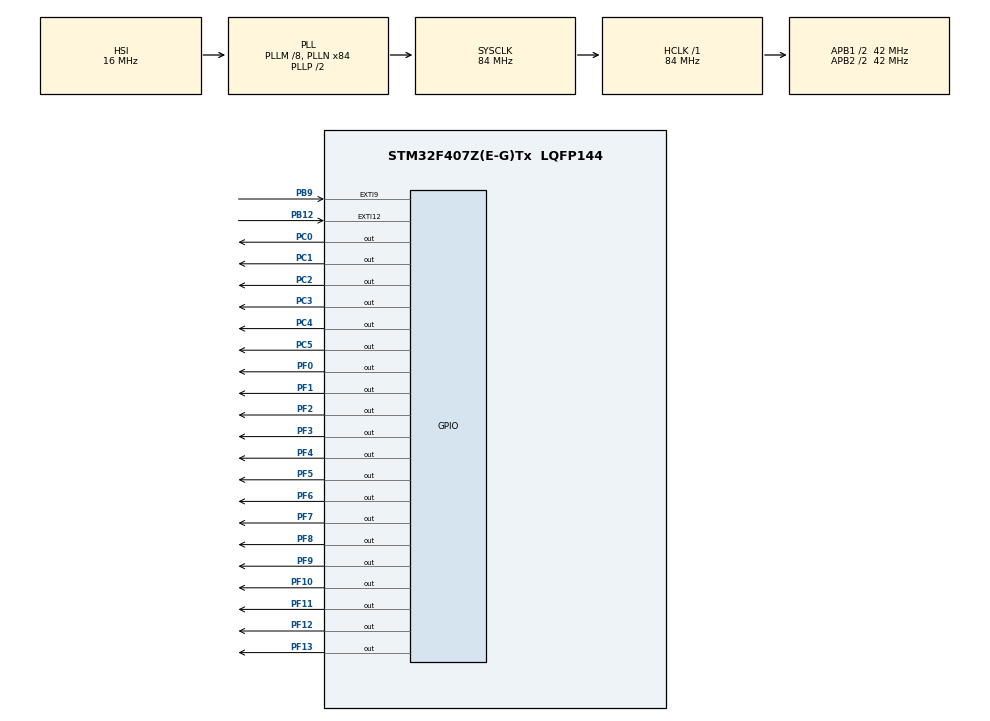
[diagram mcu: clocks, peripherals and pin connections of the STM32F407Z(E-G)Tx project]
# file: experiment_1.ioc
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Mcu.Family=STM32F4
Mcu.Name=STM32F407Z(E-G)Tx
Mcu.Package=LQFP144
NVIC.EXTI15_10_IRQn=true\:0\:0\:false\:false\:true\:true\:true\:true
NVIC.EXTI9_5_IRQn=true\:0\:0\:false\:false\:true\:true\:true\:true
NVIC.PriorityGroup=NVIC_PRIORITYGROUP_4
NVIC.TIM3_IRQn=true\:0\:0\:false\:false\:true\:true\:true\:true
PB12.Signal=GPXTI12
PB9.Signal=GPXTI9
PC0.Signal=GPIO_Output
PC1.Signal=GPIO_Output
PC14-OSC32_IN.Mode=LSE-External-Oscillator
PC14-OSC32_IN.Signal=RCC_OSC32_IN
PC15-OSC32_OUT.Mode=LSE-External-Oscillator
PC15-OSC32_OUT.Signal=RCC_OSC32_OUT
PC2.Signal=GPIO_Output
PC3.Signal=GPIO_Output
PC4.Signal=GPIO_Output
PC5.Signal=GPIO_Output
PF0.Signal=GPIO_Output
PF1.Signal=GPIO_Output
PF10.Signal=GPIO_Output
PF11.Signal=GPIO_Output
PF12.Signal=GPIO_Output
PF13.Signal=GPIO_Output
PF2.Signal=GPIO_Output
PF3.Signal=GPIO_Output
PF4.Signal=GPIO_Output
PF5.Signal=GPIO_Output
PF6.Signal=GPIO_Output
PF7.Signal=GPIO_Output
PF8.Signal=GPIO_Output
PF9.Signal=GPIO_Output
PH0-OSC_IN.Mode=HSE-External-Oscillator
PH0-OSC_IN.Signal=RCC_OSC_IN
PH1-OSC_OUT.Mode=HSE-External-Oscillator
PH1-OSC_OUT.Signal=RCC_OSC_OUT
ProjectManager.HeapSize=0x200
ProjectManager.StackSize=0x400
ProjectManager.TargetToolchain=Makefile
RCC.48MHZClocksFreq_Value=42000000
RCC.AHBFreq_Value=84000000
RCC.APB1CLKDivider=RCC_HCLK_DIV2
RCC.APB1Freq_Value=42000000
RCC.APB1TimFreq_Value=84000000
RCC.APB2CLKDivider=RCC_HCLK_DIV2
RCC.APB2Freq_Value=42000000
RCC.APB2TimFreq_Value=84000000
RCC.CortexFreq_Value=84000000
RCC.HCLKFreq_Value=84000000
RCC.HSE_VALUE=25000000
RCC.HSI_VALUE=16000000
RCC.PLLM=8
RCC.PLLN=84
RCC.SYSCLKFreq_VALUE=84000000
RCC.SYSCLKSource=RCC_SYSCLKSOURCE_PLLCLK
RCC.VCOOutputFreq_Value=168000000
VP_TIM3_VS_ClockSourceINT.Mode=Internal
board=custom

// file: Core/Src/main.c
/* USER CODE BEGIN Header */
/**
  ******************************************************************************
  * @file           : main.c
  * @brief          : Main program body
  ******************************************************************************
  * @attention
  *
  * Copyright (c) 2025 STMicroelectronics.
  * All rights reserved.
  *
  * This software is licensed under terms that can be found in the LICENSE file
  * in the root directory of this software component.
  * If no LICENSE file comes with this software, it is provided AS-IS.
  *
  ******************************************************************************
  */
/* USER CODE END Header */
#include "main.h"

/* USER CODE BEGIN Includes */
#include <stdint.h>
/* USER CODE END Includes */

TIM_HandleTypeDef htim3;

/* USER CODE BEGIN PV */
// 定时器计数器
volatile uint32_t timer_counter = 0;

// 频率控制变量 (基础周期倍数)
volatile uint32_t speed_divider = 10; // 初始速度

// 数码管流水灯变量 (8段: a,b,c,d,e,f,g,dp)
volatile uint8_t segment_pos = 0; // 当前亮的段位置 (0-7)

// 交通灯状态变量
volatile uint8_t traffic_state = 0; // 0: 灯1亮, 1: 灯2亮

// LED流水灯变量
volatile uint8_t led_mode = 0; // 0: 依次点亮, 1: 依次熄灭
volatile uint8_t led_pos = 0; // 当前LED位置 (0-7)

// 段码定义 (只点亮单个段)
const uint8_t segment_patterns[8] = {
    0x01, // a段
    0x02, // b段
    0x04, // c段
    0x08, // d段
    0x10, // e段
    0x20, // f段
    // 0x40, // g段
    // 0x80  // dp段
};
/* USER CODE END PV */

void SystemClock_Config(void);
static void MX_GPIO_Init(void);
static void MX_TIM3_Init(void);
/* USER CODE BEGIN PFP */
// 74HC595控制函数
void HC595_SendByte(uint8_t data);
void Display_Segment(uint8_t segment_code, uint8_t digit_pos);

// 任务更新函数
void Update_SegmentLight(void);
void Update_TrafficLight(void);
void Update_LEDLight(void);
/* USER CODE END PFP */

/* USER CODE BEGIN 0 */

/**
 * @brief 通过74HC595发送一个字节数据
 * @param data 要发送的8位数据
 */
void HC595_SendByte(uint8_t data)
{
    // 拉低RCK，准备传输
    HAL_GPIO_WritePin(GPIOC, GPIO_PIN_1, GPIO_PIN_RESET); // RCK = 0

    // 从高位到低位发送8位数据
    for(int i = 7; i >= 0; i--)
    {
        // 拉低SCK
        HAL_GPIO_WritePin(GPIOC, GPIO_PIN_2, GPIO_PIN_RESET); // SCK = 0

        // 设置SI数据线
        if(data & (1 << i))
            HAL_GPIO_WritePin(GPIOC, GPIO_PIN_0, GPIO_PIN_SET); // SI = 1
        else
            HAL_GPIO_WritePin(GPIOC, GPIO_PIN_0, GPIO_PIN_RESET); // SI = 0

        // 拉高SCK，移入数据
        HAL_GPIO_WritePin(GPIOC, GPIO_PIN_2, GPIO_PIN_SET); // SCK = 1
    }

    // 拉高RCK，锁存数据到输出
    HAL_GPIO_WritePin(GPIOC, GPIO_PIN_1, GPIO_PIN_SET); // RCK = 1
}

/**
 * @brief 显示数码管的某一位
 * @param segment_code 段码
 * @param digit_pos 位选 (0-7)
 */
void Display_Segment(uint8_t segment_code, uint8_t digit_pos)
{
    // 通过74HC595发送段码
    HC595_SendByte(segment_code);

    // 通过74HC138选择数码管位 (ABC控制)
    // A=PC3, B=PC4, C=PC5
    if(digit_pos & 0x01)
        HAL_GPIO_WritePin(GPIOC, GPIO_PIN_3, GPIO_PIN_SET);
    else
        HAL_GPIO_WritePin(GPIOC, GPIO_PIN_3, GPIO_PIN_RESET);

    if(digit_pos & 0x02)
        HAL_GPIO_WritePin(GPIOC, GPIO_PIN_4, GPIO_PIN_SET);
    else
        HAL_GPIO_WritePin(GPIOC, GPIO_PIN_4, GPIO_PIN_RESET);

    if(digit_pos & 0x04)
        HAL_GPIO_WritePin(GPIOC, GPIO_PIN_5, GPIO_PIN_SET);
    else
        HAL_GPIO_WritePin(GPIOC, GPIO_PIN_5, GPIO_PIN_RESET);
}

/**
 * @brief 更新数码管流水灯
 */
void Update_SegmentLight(void)
{
    // 显示当前段
    Display_Segment(segment_patterns[segment_pos], 0);

    // 移动到下一段
    segment_pos++;
    if(segment_pos >= 6)
        segment_pos = 0;
}

/**
 * @brief 更新交通灯状态
 */
void Update_TrafficLight(void)
{
    if(traffic_state == 0)
    {
        // 第一组灯亮 (红1, 黄1, 绿1) = (PF8, PF9, PF10)
        HAL_GPIO_WritePin(GPIOF, GPIO_PIN_8, GPIO_PIN_SET);
        HAL_GPIO_WritePin(GPIOF, GPIO_PIN_9, GPIO_PIN_SET);
        HAL_GPIO_WritePin(GPIOF, GPIO_PIN_10, GPIO_PIN_SET);

        // 第二组灯灭 (红2, 黄2, 绿2) = (PF11, PF12, PF13)
        HAL_GPIO_WritePin(GPIOF, GPIO_PIN_11, GPIO_PIN_RESET);
        HAL_GPIO_WritePin(GPIOF, GPIO_PIN_12, GPIO_PIN_RESET);
        HAL_GPIO_WritePin(GPIOF, GPIO_PIN_13, GPIO_PIN_RESET);

        traffic_state = 1;
    }
    else
    {
        // 第一组灯灭
        HAL_GPIO_WritePin(GPIOF, GPIO_PIN_8, GPIO_PIN_RESET);
        HAL_GPIO_WritePin(GPIOF, GPIO_PIN_9, GPIO_PIN_RESET);
        HAL_GPIO_WritePin(GPIOF, GPIO_PIN_10, GPIO_PIN_RESET);

        // 第二组灯亮
        HAL_GPIO_WritePin(GPIOF, GPIO_PIN_11, GPIO_PIN_SET);
        HAL_GPIO_WritePin(GPIOF, GPIO_PIN_12, GPIO_PIN_SET);
        HAL_GPIO_WritePin(GPIOF, GPIO_PIN_13, GPIO_PIN_SET);

        traffic_state = 0;
    }
}

/**
 * @brief 更新LED流水灯
 */
void Update_LEDLight(void)
{
    if(led_mode == 0) // 依次点亮模式
    {
        // 点亮当前LED (PF0-PF7)
        HAL_GPIO_WritePin(GPIOF, 1 << led_pos, GPIO_PIN_SET);

        led_pos++;
        if(led_pos >= 8)
        {
            led_pos = 0;
            led_mode = 1; // 切换到熄灭模式
        }
    }
    else // 依次熄灭模式
    {
        // 熄灭当前LED
        HAL_GPIO_WritePin(GPIOF, 1 << led_pos, GPIO_PIN_RESET);

        led_pos++;
        if(led_pos >= 8)
        {
            led_pos = 0;
            led_mode = 0; // 切换到点亮模式
        }
    }
}

/* USER CODE END 0 */

int main(void)
{

  /* MCU Configuration--------------------------------------------------------*/

  /* Reset of all peripherals, Initializes the Flash interface and the Systick. */
  HAL_Init();

  /* Configure the system clock */
  SystemClock_Config();

  /* Initialize all configured peripherals */
  MX_GPIO_Init();
  MX_TIM3_Init();
  /* USER CODE BEGIN 2 */
  // 启动定时器中断
  HAL_TIM_Base_Start_IT(&htim3);
  /* USER CODE END 2 */

  /* Infinite loop */
  while (1)
  {

  }
}

void SystemClock_Config(void)
{
  RCC_OscInitTypeDef RCC_OscInitStruct = {0};
  RCC_ClkInitTypeDef RCC_ClkInitStruct = {0};

  /** Configure the main internal regulator output voltage
  */
  __HAL_RCC_PWR_CLK_ENABLE();
  __HAL_PWR_VOLTAGESCALING_CONFIG(PWR_REGULATOR_VOLTAGE_SCALE1);

  /** Initializes the RCC Oscillators according to the specified parameters
  * in the RCC_OscInitTypeDef structure.
  */
  RCC_OscInitStruct.OscillatorType = RCC_OSCILLATORTYPE_HSI;
  RCC_OscInitStruct.HSIState = RCC_HSI_ON;
  RCC_OscInitStruct.HSICalibrationValue = RCC_HSICALIBRATION_DEFAULT;
  RCC_OscInitStruct.PLL.PLLState = RCC_PLL_ON;
  RCC_OscInitStruct.PLL.PLLSource = RCC_PLLSOURCE_HSI;
  RCC_OscInitStruct.PLL.PLLM = 8;
  RCC_OscInitStruct.PLL.PLLN = 84;
  RCC_OscInitStruct.PLL.PLLP = RCC_PLLP_DIV2;
  RCC_OscInitStruct.PLL.PLLQ = 4;
  if (HAL_RCC_OscConfig(&RCC_OscInitStruct) != HAL_OK)
  {
    Error_Handler();
  }

  /** Initializes the CPU, AHB and APB buses clocks
  */
  RCC_ClkInitStruct.ClockType = RCC_CLOCKTYPE_HCLK|RCC_CLOCKTYPE_SYSCLK
                              |RCC_CLOCKTYPE_PCLK1|RCC_CLOCKTYPE_PCLK2;
  RCC_ClkInitStruct.SYSCLKSource = RCC_SYSCLKSOURCE_PLLCLK;
  RCC_ClkInitStruct.AHBCLKDivider = RCC_SYSCLK_DIV1;
  RCC_ClkInitStruct.APB1CLKDivider = RCC_HCLK_DIV2;
  RCC_ClkInitStruct.APB2CLKDivider = RCC_HCLK_DIV2;

  if (HAL_RCC_ClockConfig(&RCC_ClkInitStruct, FLASH_LATENCY_2) != HAL_OK)
  {
    Error_Handler();
  }
}

static void MX_TIM3_Init(void)
{

  TIM_ClockConfigTypeDef sClockSourceConfig = {0};
  TIM_MasterConfigTypeDef sMasterConfig = {0};

  /* USER CODE BEGIN TIM3_Init 1 */
  // 重新配置定时器参数
  // TIM3时钟源为APB1定时器时钟 = 84MHz (因为APB1=42MHz, 但定时器时钟x2)
  // Prescaler = 8399: 84MHz / (8399+1) = 10kHz
  // Period = 999: 10kHz / (999+1) = 10Hz (每100ms中断一次)
  /* USER CODE END TIM3_Init 1 */
  htim3.Instance = TIM3;
  htim3.Init.Prescaler = 0;
  htim3.Init.CounterMode = TIM_COUNTERMODE_UP;
  htim3.Init.Period = 65535;
  htim3.Init.ClockDivision = TIM_CLOCKDIVISION_DIV1;
  htim3.Init.AutoReloadPreload = TIM_AUTORELOAD_PRELOAD_DISABLE;
  if (HAL_TIM_Base_Init(&htim3) != HAL_OK)
  {
    Error_Handler();
  }
  sClockSourceConfig.ClockSource = TIM_CLOCKSOURCE_INTERNAL;
  if (HAL_TIM_ConfigClockSource(&htim3, &sClockSourceConfig) != HAL_OK)
  {
    Error_Handler();
  }
  sMasterConfig.MasterOutputTrigger = TIM_TRGO_RESET;
  sMasterConfig.MasterSlaveMode = TIM_MASTERSLAVEMODE_DISABLE;
  if (HAL_TIMEx_MasterConfigSynchronization(&htim3, &sMasterConfig) != HAL_OK)
  {
    Error_Handler();
  }
  /* USER CODE BEGIN TIM3_Init 2 */
  // 在初始化后重新配置参数
  htim3.Init.Prescaler = 8399;
  htim3.Init.Period = 999;
  HAL_TIM_Base_Init(&htim3);
  /* USER CODE END TIM3_Init 2 */

}

static void MX_GPIO_Init(void)
{
  GPIO_InitTypeDef GPIO_InitStruct = {0};

  /* GPIO Ports Clock Enable */
  __HAL_RCC_GPIOC_CLK_ENABLE();
  __HAL_RCC_GPIOF_CLK_ENABLE();
  __HAL_RCC_GPIOH_CLK_ENABLE();
  __HAL_RCC_GPIOB_CLK_ENABLE();

  /*Configure GPIO pin Output Level */
  HAL_GPIO_WritePin(GPIOF, GPIO_PIN_0|GPIO_PIN_1|GPIO_PIN_2|GPIO_PIN_3
                          |GPIO_PIN_4|GPIO_PIN_5|GPIO_PIN_6|GPIO_PIN_7
                          |GPIO_PIN_8|GPIO_PIN_9|GPIO_PIN_10|GPIO_PIN_11
                          |GPIO_PIN_12|GPIO_PIN_13, GPIO_PIN_RESET);

  /*Configure GPIO pin Output Level */
  HAL_GPIO_WritePin(GPIOC, GPIO_PIN_0|GPIO_PIN_1|GPIO_PIN_2|GPIO_PIN_3
                          |GPIO_PIN_4|GPIO_PIN_5, GPIO_PIN_RESET);

  /*Configure GPIO pins : PF0 PF1 PF2 PF3
                           PF4 PF5 PF6 PF7
                           PF8 PF9 PF10 PF11
                           PF12 PF13 */
  GPIO_InitStruct.Pin = GPIO_PIN_0|GPIO_PIN_1|GPIO_PIN_2|GPIO_PIN_3
                          |GPIO_PIN_4|GPIO_PIN_5|GPIO_PIN_6|GPIO_PIN_7
                          |GPIO_PIN_8|GPIO_PIN_9|GPIO_PIN_10|GPIO_PIN_11
                          |GPIO_PIN_12|GPIO_PIN_13;
  GPIO_InitStruct.Mode = GPIO_MODE_OUTPUT_PP;
  GPIO_InitStruct.Pull = GPIO_NOPULL;
  GPIO_InitStruct.Speed = GPIO_SPEED_FREQ_LOW;
  HAL_GPIO_Init(GPIOF, &GPIO_InitStruct);

  /*Configure GPIO pins : PC0 PC1 PC2 PC3
                           PC4 PC5 */
  GPIO_InitStruct.Pin = GPIO_PIN_0|GPIO_PIN_1|GPIO_PIN_2|GPIO_PIN_3
                          |GPIO_PIN_4|GPIO_PIN_5;
  GPIO_InitStruct.Mode = GPIO_MODE_OUTPUT_PP;
  GPIO_InitStruct.Pull = GPIO_NOPULL;
  GPIO_InitStruct.Speed = GPIO_SPEED_FREQ_LOW;
  HAL_GPIO_Init(GPIOC, &GPIO_InitStruct);

  /*Configure GPIO pins : PB12 PB9 */
  GPIO_InitStruct.Pin = GPIO_PIN_12|GPIO_PIN_9;
  GPIO_InitStruct.Mode = GPIO_MODE_IT_RISING;
  GPIO_InitStruct.Pull = GPIO_NOPULL;
  HAL_GPIO_Init(GPIOB, &GPIO_InitStruct);

  /* EXTI interrupt init*/
  HAL_NVIC_SetPriority(EXTI9_5_IRQn, 0, 0);
  HAL_NVIC_EnableIRQ(EXTI9_5_IRQn);

  HAL_NVIC_SetPriority(EXTI15_10_IRQn, 0, 0);
  HAL_NVIC_EnableIRQ(EXTI15_10_IRQn);

}

/* USER CODE BEGIN 4 */

/**
 * @brief 定时器周期回调函数
 */
void HAL_TIM_PeriodElapsedCallback(TIM_HandleTypeDef *htim)
{
    if(htim->Instance == TIM3)
    {
        timer_counter++;

        // 根据speed_divider调整更新频率
        if(timer_counter >= speed_divider)
        {
            timer_counter = 0;

            // 更新三个任务
            Update_SegmentLight();
            Update_TrafficLight();
            Update_LEDLight();
        }
    }
}

/**
 * @brief GPIO外部中断回调函数
 */
void HAL_GPIO_EXTI_Callback(uint16_t GPIO_Pin)
{
    if(GPIO_Pin == GPIO_PIN_9) // PB9 - 按钮1: 提高频率
    {
        if(speed_divider > 2)
            speed_divider -= 2;
    }
    else if(GPIO_Pin == GPIO_PIN_12) // PB12 - 按钮2: 降低频率
    {
        if(speed_divider < 50)
            speed_divider += 2;
    }
}

/* USER CODE END 4 */

void Error_Handler(void)
{
  __disable_irq();
  while (1)
  {
  }
}
